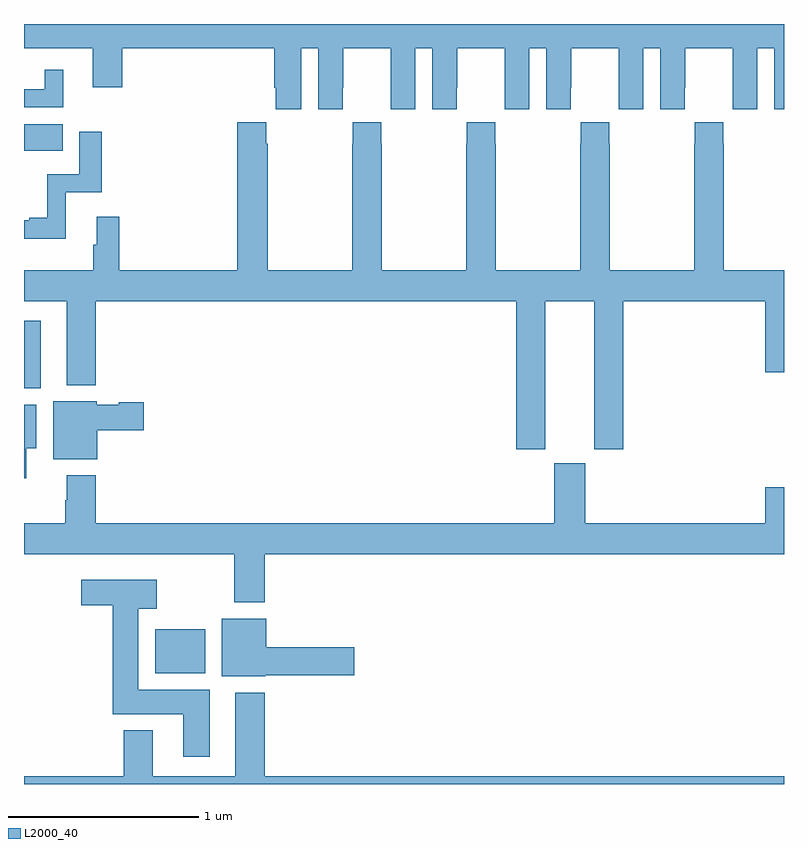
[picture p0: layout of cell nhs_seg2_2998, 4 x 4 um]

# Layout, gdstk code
import gdstk
lib = gdstk.Library(unit=1e-6, precision=1e-09)
def R(c, l, rs):  # rectangles x0, y0, x1, y1
    for r in rs: c.add(gdstk.rectangle(r[:2], r[2:], *l))
def P(c, l, *ps):  # polygons
    for p in ps: c.add(gdstk.Polygon(p, *l))
L2000_40 = (2000, 40)

nhs_seg2_2998 = lib.new_cell('nhs_seg2_2998')
R(nhs_seg2_2998, L2000_40, [(269.69,608.384,269.953,608.614), (269,609.884,269.089,610.237), (269,611.132,269.203,611.272)])
P(nhs_seg2_2998, L2000_40, [(269,611.672),(269.363,611.672),(269.363,611.466),(269.516,611.466),(269.516,611.672),(270.317,611.672),(270.317,611.464),(270.326,611.464),(270.326,611.352),(270.46,611.352),(270.46,611.672),(270.548,611.672),(270.548,611.352),(270.678,611.352),(270.678,611.464),(270.679,611.464),(270.679,611.672),(270.929,611.672),(270.929,611.464),(270.93,611.464),(270.93,611.352),(271.06,611.352),(271.06,611.672),(271.148,611.672),(271.148,611.352),(271.278,611.352),(271.278,611.464),(271.279,611.464),(271.279,611.672),(271.529,611.672),(271.529,611.464),(271.53,611.464),(271.53,611.352),(271.66,611.352),(271.66,611.672),(271.748,611.672),(271.748,611.352),(271.878,611.352),(271.878,611.464),(271.879,611.464),(271.879,611.672),(272.129,611.672),(272.129,611.464),(272.13,611.464),(272.13,611.352),(272.26,611.352),(272.26,611.672),(272.348,611.672),(272.348,611.352),(272.478,611.352),(272.478,611.464),(272.479,611.464),(272.479,611.672),(272.729,611.672),(272.729,611.464),(272.73,611.464),(272.73,611.352),(272.86,611.352),(272.86,611.672),(272.948,611.672),(272.948,611.352),(273,611.352),(273,611.8),(269,611.8)],
  [(269.206,611.56),(269.108,611.56),(269.108,611.457),(269,611.457),(269,611.361),(269.206,611.361)],
  [(271.744,610.34),(272,610.34),(272,609.561),(272.153,609.561),(272.153,610.34),(272.9,610.34),(272.9,609.966),(273,609.966),(273,610.504),(272.682,610.504),(272.682,611.171),(272.679,611.171),(272.679,611.284),(272.529,611.284),(272.529,611.171),(272.527,611.171),(272.527,610.504),(272.082,610.504),(272.082,611.171),(272.079,611.171),(272.079,611.284),(271.929,611.284),(271.929,611.171),(271.927,611.171),(271.927,610.504),(271.482,610.504),(271.482,611.171),(271.479,611.171),(271.479,611.284),(271.329,611.284),(271.329,611.171),(271.327,611.171),(271.327,610.504),(270.882,610.504),(270.882,611.171),(270.879,611.171),(270.879,611.284),(270.729,611.284),(270.729,611.171),(270.727,611.171),(270.727,610.504),(270.282,610.504),(270.282,611.171),(270.275,611.171),(270.275,611.284),(270.122,611.284),(270.122,610.504),(269.501,610.504),(269.501,610.786),(269.384,610.786),(269.384,610.637),(269.365,610.637),(269.365,610.504),(269,610.504),(269,610.34),(269.225,610.34),(269.225,609.899),(269.378,609.899),(269.378,610.34),(271.592,610.34),(271.592,609.561),(271.744,609.561)],
  [(269.221,610.914),(269.408,610.914),(269.408,611.233),(269.292,611.233),(269.292,611.01),(269.123,611.01),(269.123,610.78),(269.027,610.78),(269.027,610.767),(269,610.767),(269,610.67),(269.221,610.67)],
  [(269.386,609.662),(269.629,609.662),(269.629,609.809),(269.499,609.809),(269.499,609.796),(269.382,609.796),(269.382,609.814),(269.153,609.814),(269.153,609.509),(269.386,609.509)],
  [(269.011,609.566),(269.065,609.566),(269.065,609.796),(269,609.796),(269,609.408),(269.011,609.408)],
  [(270.266,609.008),(273,609.008),(273,609.361),(272.9,609.361),(272.9,609.172),(271.954,609.172),(271.954,609.489),(271.79,609.489),(271.79,609.172),(269.378,609.172),(269.378,609.424),(269.225,609.424),(269.225,609.293),(269.218,609.293),(269.218,609.172),(269,609.172),(269,609.008),(270.106,609.008),(270.106,608.756),(270.266,608.756)],
  [(269.977,608.296),(269.602,608.296),(269.602,608.723),(269.698,608.723),(269.698,608.875),(269.301,608.875),(269.301,608.741),(269.468,608.741),(269.468,608.168),(269.837,608.168),(269.837,607.944),(269.977,607.944)],
  [(270.27,608.372),(270.739,608.372),(270.739,608.519),(270.274,608.519),(270.274,608.671),(270.041,608.671),(270.041,608.366),(270.27,608.366)],
  [(270.113,607.84),(269.677,607.84),(269.677,608.083),(269.525,608.083),(269.525,607.84),(269,607.84),(269,607.8),(273,607.8),(273,607.84),(270.266,607.84),(270.266,608.281),(270.113,608.281)])

lib.write_gds('nhs_seg2_2998.gds')
